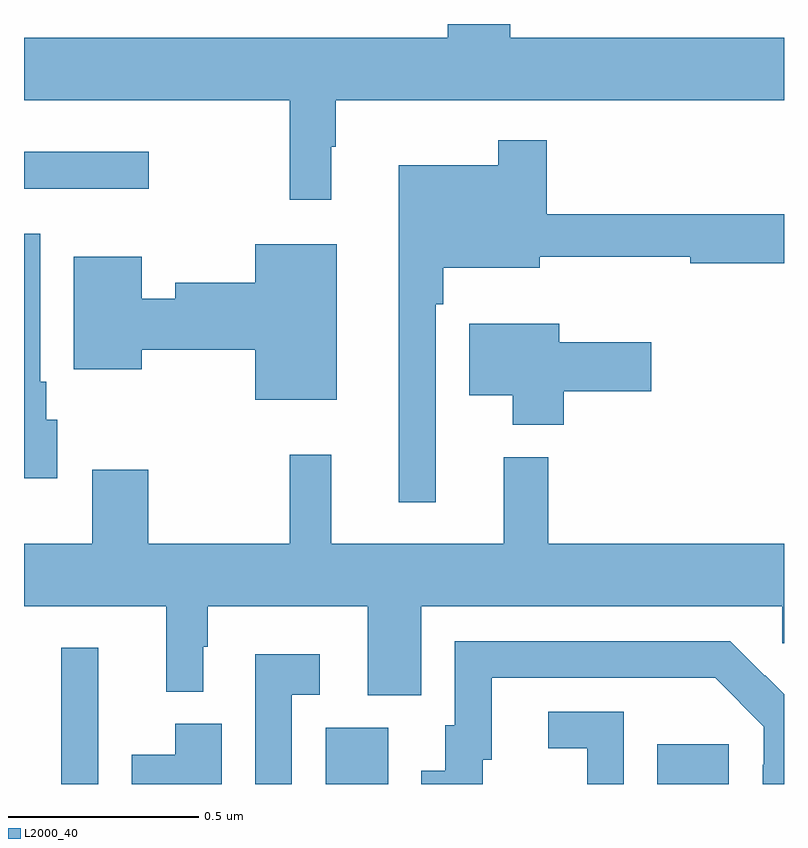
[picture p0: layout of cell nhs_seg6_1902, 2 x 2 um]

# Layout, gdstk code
import gdstk
lib = gdstk.Library(unit=1e-6, precision=1e-09)
def R(c, l, rs):  # rectangles x0, y0, x1, y1
    for r in rs: c.add(gdstk.rectangle(r[:2], r[2:], *l))
def P(c, l, *ps):  # polygons
    for p in ps: c.add(gdstk.Polygon(p, *l))
L2000_40 = (2000, 40)

nhs_seg6_1902 = lib.new_cell('nhs_seg6_1902')
R(nhs_seg6_1902, L2000_40, [(135.098,981.5,135.195,981.859), (135.794,981.5,135.958,981.648), (136.667,981.5,136.855,981.604), (135,983.067,135.328,983.164)])
P(nhs_seg6_1902, L2000_40, [(135.808,983.177),(135.82,983.177),(135.82,983.3),(137,983.3),(137,983.464),(136.28,983.464),(136.28,983.5),(136.115,983.5),(136.115,983.464),(135,983.464),(135,983.3),(135.699,983.3),(135.699,983.037),(135.808,983.037)],
  [(136.083,982.763),(136.103,982.763),(136.103,982.859),(136.357,982.859),(136.357,982.888),(136.753,982.888),(136.753,982.87),(137,982.87),(137,982.999),(136.376,982.999),(136.376,983.194),(136.248,983.194),(136.248,983.128),(135.986,983.128),(135.986,982.242),(136.083,982.242)],
  [(135.088,982.458),(135.058,982.458),(135.058,982.558),(135.043,982.558),(135.043,982.948),(135,982.948),(135,982.304),(135.088,982.304)],
  [(135.823,982.921),(135.608,982.921),(135.608,982.819),(135.398,982.819),(135.398,982.777),(135.31,982.777),(135.31,982.888),(135.131,982.888),(135.131,982.592),(135.31,982.592),(135.31,982.643),(135.608,982.643),(135.608,982.511),(135.823,982.511)],
  [(136.421,982.534),(136.651,982.534),(136.651,982.663),(136.408,982.663),(136.408,982.711),(136.172,982.711),(136.172,982.523),(136.286,982.523),(136.286,982.445),(136.421,982.445)],
  [(136.045,981.968),(136.995,981.968),(136.995,981.87),(137,981.87),(137,982.132),(136.379,982.132),(136.379,982.36),(136.262,982.36),(136.262,982.132),(135.809,982.132),(135.809,982.366),(135.699,982.366),(135.699,982.132),(135.327,982.132),(135.327,982.327),(135.179,982.327),(135.179,982.132),(135,982.132),(135,981.968),(135.374,981.968),(135.374,981.743),(135.472,981.743),(135.472,981.861),(135.484,981.861),(135.484,981.968),(135.905,981.968),(135.905,981.733),(136.045,981.733)],
  [(136.207,981.564),(136.231,981.564),(136.231,981.78),(136.819,981.78),(136.947,981.651),(136.947,981.551),(136.944,981.551),(136.944,981.5),(137,981.5),(137,981.736),(136.95,981.786),(136.949,981.785),(136.858,981.876),(136.134,981.876),(136.134,981.654),(136.109,981.654),(136.109,981.535),(136.046,981.535),(136.046,981.5),(136.207,981.5)],
  [(135.705,981.735),(135.778,981.735),(135.778,981.841),(135.609,981.841),(135.609,981.5),(135.705,981.5)],
  [(136.578,981.69),(136.38,981.69),(136.38,981.594),(136.482,981.594),(136.482,981.5),(136.578,981.5)],
  [(135.52,981.658),(135.398,981.658),(135.398,981.577),(135.284,981.577),(135.284,981.5),(135.52,981.5)])

lib.write_gds('nhs_seg6_1902.gds')
